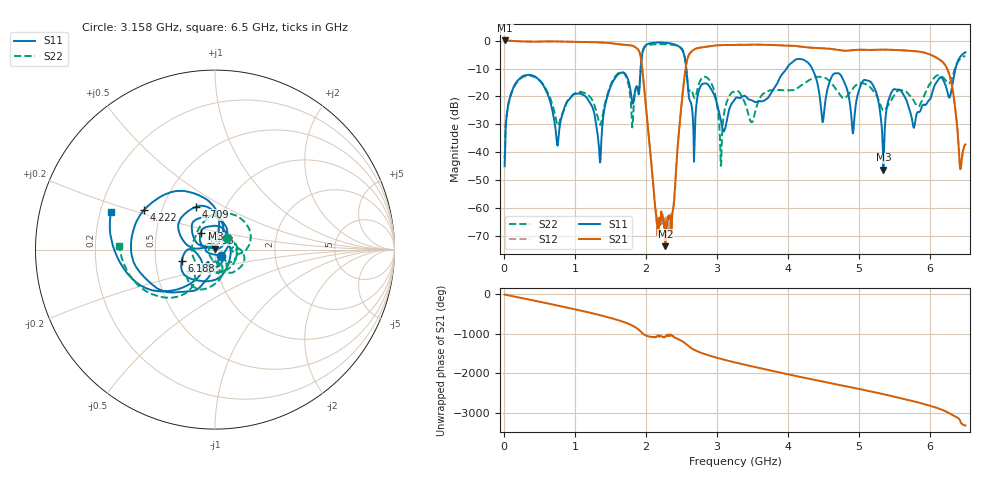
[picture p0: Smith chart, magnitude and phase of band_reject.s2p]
!Keysight Technologies,P9371A,MY57211172,A.13.10.05
!Date: Monday, March 30, 2026 15:56:23
!Correction: S11(Full 2 Port(1,2))
!S21(Full 2 Port(1,2))
!S12(Full 2 Port(1,2))
!S22(Full 2 Port(1,2))
!S2P File: Measurements: S11, S21, S12, S22:
# Hz S  dB  R 50
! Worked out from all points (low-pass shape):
!   1001 points, 10 MHz to 6.5 GHz, reference 50 ohm
!   highest |S21| = 0.03 dB at 16.49 MHz (marker M1); lowest = -73.5 dB at 2.275 GHz (marker M2)
!   |S21| within 3 dB of the highest: start of sweep to 1.881 GHz; 2.697 GHz to 4.603 GHz (1.905 GHz wide, 52.2 % of centre)
!   lowest |S11| = -46.2 dB at 5.345 GHz (marker M3), VSWR 1.01, Z = 50.2 + j0.444 ohm
!   |S11| at or under -10 dB: start of sweep to 1.926 GHz; 2.568 GHz to 3.981 GHz (1.413 GHz wide, 43.1 % of centre); 4.341 GHz to 6.361 GHz (2.02 GHz wide, 37.8 % of centre)
!   |S22| runs from -44.8 to -1.3 dB; largest |S21 - S12| = 0.0022
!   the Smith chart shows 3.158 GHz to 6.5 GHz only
!   S11 on the Smith chart (normalised r, x): 3.158 GHz: 1.07, -0.07; 4.222 GHz: 0.40, +0.22; 4.709 GHz: 0.73, +0.37; 5.468 GHz: 0.84, +0.16; 6.188 GHz: 0.68, -0.09; 6.5 GHz: 0.24, +0.16
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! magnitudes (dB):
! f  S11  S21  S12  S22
! 10 MHz  -44.9  0.0  0.0  -42.1
! 16.49 MHz  -40.3  0.0  0.0  -39.0
! 256.6 MHz  -12.8  -0.3  -0.3  -13.2
! 749.9 MHz  -37.1  -0.3  -0.3  -30.1
! 1.094 GHz  -19.2  -0.5  -0.5  -18.4
! 1.347 GHz  -41.6  -0.7  -0.7  -29.6
! 1.561 GHz  -13.6  -1.1  -1.1  -13.1
! 1.899 GHz  -19.3  -3.5  -3.5  -18.3
! 2.178 GHz  -0.7  -64.0  -65.8  -1.3
! 2.275 GHz  -0.8  -73.5  -63.4  -1.3
! 2.6 GHz  -18.8  -5.5  -5.5  -17.9
! 3.158 GHz  -26.4  -1.6  -1.6  -20.7
! 3.255 GHz  -20.8  -1.6  -1.6  -18.1
! 4.222 GHz  -6.9  -2.3  -2.3  -15.5
! 4.339 GHz  -9.9  -2.6  -2.6  -13.7
! 4.488 GHz  -29.2  -2.8  -2.8  -13.0
! 4.709 GHz  -11.7  -3.4  -3.3  -18.4
! 5.345 GHz  -46.2  -3.2  -3.2  -24.8
! 5.423 GHz  -20.9  -3.3  -3.3  -22.6
! 5.468 GHz  -18.1  -3.4  -3.3  -20.8
! 6.188 GHz  -14.2  -7.9  -7.9  -13.3
! 6.5 GHz  -4.2  -37.1  -37.1  -5.5
